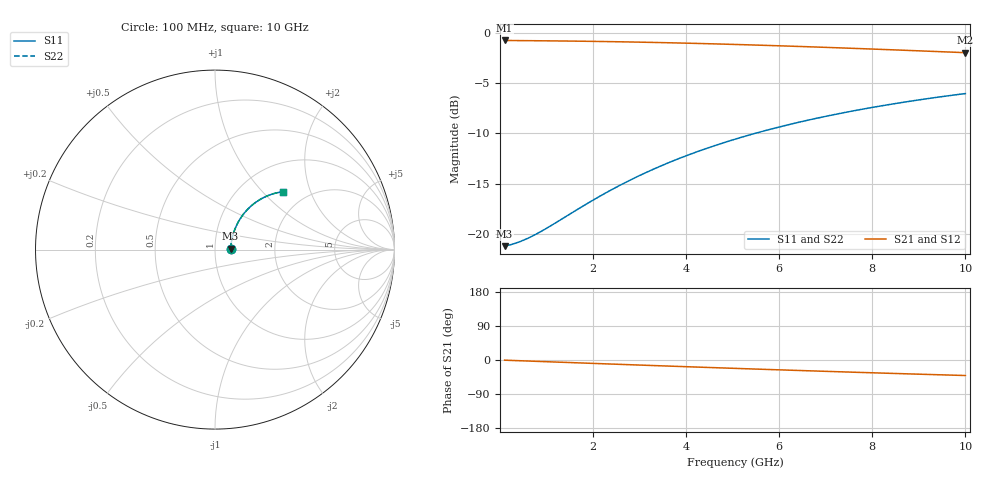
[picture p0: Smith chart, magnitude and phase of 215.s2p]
# Hz S RI R 50.00
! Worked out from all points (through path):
!   100 points, 100 MHz to 10 GHz, reference 50 ohm
!   highest |S21| = -0.79 dB at 100 MHz (marker M1); lowest = -2.0 dB at 10 GHz (marker M2)
!   group delay of S21, straight-line fit = 11.4 ps
!   lowest |S11| = -21.2 dB at 100 MHz (marker M3), VSWR 1.19, Z = 59.5 + j0.628 ohm
!   |S11| at or under -10 dB: start of sweep to 5.49 GHz
!   |S22| runs from -21.2 to -6.1 dB; largest |S21 - S12| = 0
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1e8  0.0869 0.00524  0.9131 -0.00718  0.9131 -0.00718  0.0869 0.00524
3e8  0.0881 0.0157  0.9118 -0.0215  0.9118 -0.0215  0.0881 0.0157
4e8  0.0887 0.0209  0.9112 -0.0287  0.9112 -0.0287  0.0887 0.0209
5e8  0.0894 0.0261  0.9106 -0.0358  0.9106 -0.0358  0.0894 0.0261
7e8  0.0908 0.0364  0.9091 -0.05  0.9091 -0.05  0.0908 0.0364
1e9  0.0934 0.0518  0.9064 -0.0712  0.9064 -0.0712  0.0934 0.0518
1.8e9  0.1034 0.0919  0.8959 -0.127  0.8959 -0.127  0.1034 0.0919
2.2e9  0.1101 0.1113  0.8889 -0.1541  0.8889 -0.1541  0.1101 0.1113
2.6e9  0.1179 0.1301  0.8807 -0.1808  0.8807 -0.1808  0.1179 0.1301
3e9  0.1268 0.1483  0.8714 -0.2068  0.8714 -0.2068  0.1268 0.1483
3.4e9  0.1367 0.1658  0.861 -0.2321  0.861 -0.2321  0.1367 0.1658
3.8e9  0.1475 0.1825  0.8496 -0.2567  0.8496 -0.2567  0.1475 0.1825
4.2e9  0.1592 0.1984  0.8373 -0.2804  0.8373 -0.2804  0.1592 0.1984
4.6e9  0.1716 0.2134  0.8241 -0.3033  0.8241 -0.3033  0.1716 0.2134
5.1e9  0.1882 0.2308  0.8065 -0.3306  0.8065 -0.3306  0.1882 0.2308
5.5e9  0.2022 0.2437  0.7917 -0.3514  0.7917 -0.3514  0.2022 0.2437
5.9e9  0.2167 0.2557  0.7763 -0.3713  0.7763 -0.3713  0.2167 0.2557
6.7e9  0.247 0.2766  0.7439 -0.4081  0.7439 -0.4081  0.247 0.2766
7.5e9  0.2786 0.2935  0.71 -0.441  0.71 -0.441  0.2786 0.2935
8.4e9  0.3148 0.308  0.6707 -0.4736  0.6707 -0.4736  0.3148 0.308
9.2e9  0.3472 0.3169  0.6353 -0.4987  0.6353 -0.4987  0.3472 0.3169
1e10  0.3794 0.3223  0.5999 -0.5205  0.5999 -0.5205  0.3794 0.3223
